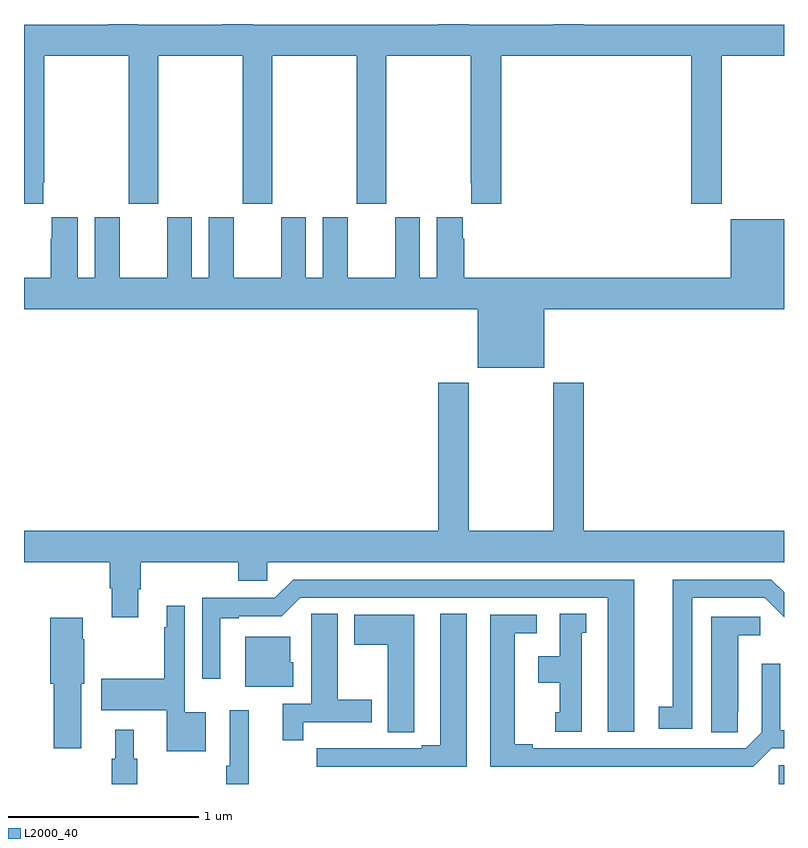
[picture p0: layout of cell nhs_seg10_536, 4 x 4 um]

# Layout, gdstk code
import gdstk
lib = gdstk.Library(unit=1e-6, precision=1e-09)
def R(c, l, rs):  # rectangles x0, y0, x1, y1
    for r in rs: c.add(gdstk.rectangle(r[:2], r[2:], *l))
def P(c, l, *ps):  # polygons
    for p in ps: c.add(gdstk.Polygon(p, *l))
L2000_40 = (2000, 40)

nhs_seg10_536 = lib.new_cell('nhs_seg10_536')
R(nhs_seg10_536, L2000_40, [(140.973,1280.5,141,1280.598)])
P(nhs_seg10_536, L2000_40, [(137.101,1283.665),(137.106,1283.665),(137.106,1284.332),(137.551,1284.332),(137.551,1283.553),(137.706,1283.553),(137.706,1284.332),(138.151,1284.332),(138.151,1283.553),(138.306,1283.553),(138.306,1284.332),(138.751,1284.332),(138.751,1283.553),(138.906,1283.553),(138.906,1284.332),(139.351,1284.332),(139.351,1283.665),(139.355,1283.665),(139.355,1283.553),(139.511,1283.553),(139.511,1284.332),(140.513,1284.332),(140.513,1283.553),(140.673,1283.553),(140.673,1284.332),(141,1284.332),(141,1284.496),(139.946,1284.496),(139.946,1284.5),(139.786,1284.5),(139.786,1284.496),(139.341,1284.496),(139.341,1284.5),(139.181,1284.5),(139.181,1284.496),(138.203,1284.496),(138.203,1284.5),(138.043,1284.5),(138.043,1284.496),(137.598,1284.496),(137.598,1284.5),(137.443,1284.5),(137.443,1284.496),(137,1284.496),(137,1283.553),(137.101,1283.553)],
  [(139.738,1283),(141,1283),(141,1283.473),(140.72,1283.473),(140.72,1283.164),(139.316,1283.164),(139.316,1283.369),(139.309,1283.369),(139.309,1283.482),(139.172,1283.482),(139.172,1283.164),(139.084,1283.164),(139.084,1283.482),(138.953,1283.482),(138.953,1283.164),(138.703,1283.164),(138.703,1283.482),(138.572,1283.482),(138.572,1283.164),(138.484,1283.164),(138.484,1283.482),(138.353,1283.482),(138.353,1283.164),(138.103,1283.164),(138.103,1283.482),(137.972,1283.482),(137.972,1283.164),(137.884,1283.164),(137.884,1283.482),(137.753,1283.482),(137.753,1283.164),(137.503,1283.164),(137.503,1283.482),(137.372,1283.482),(137.372,1283.164),(137.284,1283.164),(137.284,1283.482),(137.147,1283.482),(137.147,1283.369),(137.141,1283.369),(137.141,1283.164),(137,1283.164),(137,1283),(139.388,1283),(139.388,1282.691),(139.738,1282.691)],
  [(137.602,1281.526),(137.615,1281.526),(137.615,1281.668),(138.128,1281.668),(138.128,1281.57),(138.279,1281.57),(138.279,1281.668),(141,1281.668),(141,1281.832),(139.946,1281.832),(139.946,1282.612),(139.786,1282.612),(139.786,1281.832),(139.341,1281.832),(139.341,1282.612),(139.181,1282.612),(139.181,1281.832),(137,1281.832),(137,1281.668),(137.45,1281.668),(137.45,1281.531),(137.462,1281.531),(137.462,1281.378),(137.602,1281.378)],
  [(140.518,1281.48),(140.898,1281.48),(141,1281.378),(141,1281.51),(140.934,1281.576),(140.414,1281.576),(140.414,1280.906),(140.34,1280.906),(140.34,1280.79),(140.518,1280.79)],
  [(140.212,1281.576),(138.417,1281.576),(138.321,1281.48),(137.937,1281.48),(137.937,1281.054),(138.034,1281.054),(138.034,1281.372),(138.13,1281.372),(138.13,1281.384),(138.357,1281.384),(138.453,1281.48),(140.072,1281.48),(140.072,1280.775),(140.212,1280.775)],
  [(137.956,1280.878),(137.847,1280.878),(137.847,1281.439),(137.75,1281.439),(137.75,1281.326),(137.739,1281.326),(137.739,1281.054),(137.406,1281.054),(137.406,1280.888),(137.75,1280.888),(137.75,1280.672),(137.956,1280.672)],
  [(139.33,1281.395),(139.19,1281.395),(139.19,1280.703),(139.094,1280.703),(139.094,1280.688),(138.818,1280.688),(138.818,1280.689),(138.652,1280.689),(138.652,1280.688),(138.54,1280.688),(138.54,1280.592),(139.33,1280.592)],
  [(138.47,1280.826),(138.829,1280.826),(138.829,1280.943),(138.652,1280.943),(138.652,1281.395),(138.513,1281.395),(138.513,1281.284),(138.512,1281.284),(138.512,1280.922),(138.362,1280.922),(138.362,1280.73),(138.47,1280.73)],
  [(139.936,1281.297),(139.96,1281.297),(139.96,1281.395),(139.82,1281.395),(139.82,1281.172),(139.706,1281.172),(139.706,1281.032),(139.82,1281.032),(139.82,1280.877),(139.796,1280.877),(139.796,1280.775),(139.936,1280.775)],
  [(139.053,1280.881),(139.054,1280.881),(139.054,1281.391),(138.737,1281.391),(138.737,1281.232),(138.914,1281.232),(138.914,1280.773),(139.053,1280.773)],
  [(140.935,1280.688),(141,1280.688),(141,1280.784),(140.979,1280.784),(140.979,1281.133),(140.883,1281.133),(140.883,1280.772),(140.799,1280.688),(139.678,1280.688),(139.678,1280.708),(139.582,1280.708),(139.582,1281.294),(139.699,1281.294),(139.699,1281.39),(139.454,1281.39),(139.454,1280.592),(140.839,1280.592)],
  [(140.757,1280.881),(140.758,1280.881),(140.758,1281.284),(140.875,1281.284),(140.875,1281.381),(140.618,1281.381),(140.618,1280.773),(140.757,1280.773)],
  [(137.302,1281.027),(137.316,1281.027),(137.316,1281.263),(137.308,1281.263),(137.308,1281.376),(137.138,1281.376),(137.138,1281.027),(137.156,1281.027),(137.156,1280.688),(137.302,1280.688)],
  [(138.418,1281.141),(138.4,1281.141),(138.4,1281.274),(138.164,1281.274),(138.164,1281.011),(138.418,1281.011)],
  [(138.182,1280.887),(138.084,1280.887),(138.084,1280.596),(138.064,1280.596),(138.064,1280.5),(138.182,1280.5)],
  [(137.578,1280.634),(137.578,1280.785),(137.48,1280.785),(137.48,1280.634),(137.461,1280.634),(137.461,1280.5),(137.597,1280.5),(137.597,1280.634)])

lib.write_gds('nhs_seg10_536.gds')
